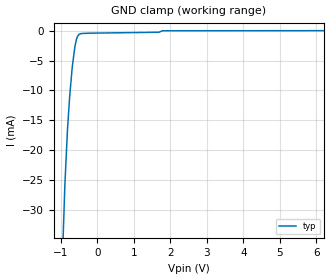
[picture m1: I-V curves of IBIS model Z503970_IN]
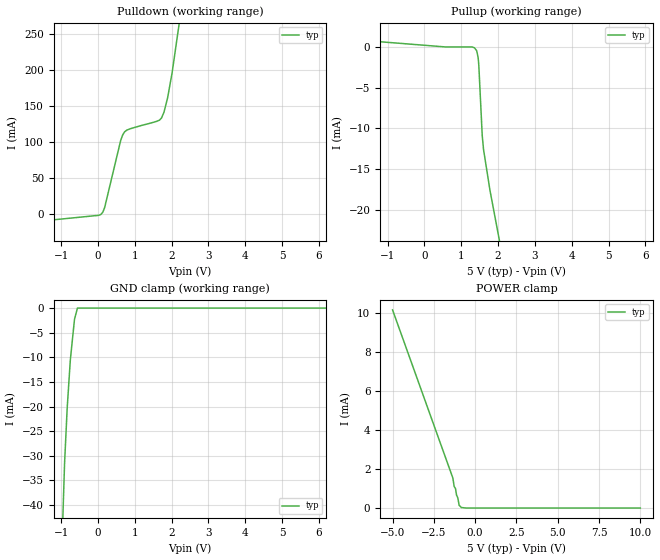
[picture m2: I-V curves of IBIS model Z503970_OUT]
| YOU ARE ONLY AUTHORIZED TO USE THIS SOFTWARE
| ACCORDING TO LICENSOR'S LICENSE RESTRICTIONS.
[IBIS Ver] 3.1
[File Name] mc74f14n.ibs
[File Rev] 2.0
[Source] Measured and created by ICX Technology
[Date] Friday 7/14/00 9:08:04 AM
[Copyright]
| (C) COPYRIGHT 1993-2000
| MENTOR GRAPHICS CORPORATION
| ICX STANDARD LIBRARY, ICX PROJECT MODELING,
| ICX CUSTOM MODELING, ICX VENDOR MODEL
| ALL RIGHTS RESERVED.
| THE FOLLOWING ARE TRADEMARKS OR SERVICE MARKS OF
| MENTOR GRAPHICS CORPORATION:ICX (R), ICX STANDARD
| LIBRARY(R), ICX PROJECT MODELING(R), ICX CUSTOM
| MODELING(R), qualityIBIS(TM), MODELVIEWER(TM),
| AND MODELEDITOR(TM)
| ALL COPIES OF SOFTWARE, INCLUDING BUT NOT LIMITED TO
| ANY MODIFICATIONS, ENHANCEMENTS OR DERIVATIVE WORKS,
| MUST CONTAIN ALL MENTOR GRAPHICS CORPORATION'S
| NOTICES AND LEGENDS, INCLUDING THOSE EMBEDDED IN
| SOFTWARE AND THOSE AFFIXED TO SOFTWARE MEDIUM
| AND CONTAINER, AS RECEIVED FROM MENTOR GRAPHICS
| CORPORATION.
|  ZAP Model Builder 2.7
[Component] MC74F14N
[Manufacturer] OnSemiconductor
[Package]
| variable   typ   min   max
R_pkg  .21ohms NA NA
L_pkg  4.543nH NA NA
C_pkg  1.059pF NA NA
[Pin] signal_name  model_name  R_pin  L_pin C_pin
1 A Z503970_IN .22 6.757n 1.432p
2 Y Z503970_OUT .212 4.757n 1.142p
3 A Z503970_IN .204 3.257n .852p
4 Y Z503970_OUT .196 2.257n .562p
5 A Z503970_IN .204 3.257n .852p
6 Y Z503970_OUT .212 4.757n 1.142p
7 GROUND GND .22 6.757n 1.432p
8 Y Z503970_OUT .22 6.757n 1.432p
9 A Z503970_IN .212 4.757n 1.142p
10 Y Z503970_OUT .204 3.257n .852p
11 A Z503970_IN .196 2.257n .562p
12 Y Z503970_OUT .204 3.257n .852p
13 A Z503970_IN .212 4.757n 1.142p
14 VCC POWER .22 6.757n 1.432p
| Models and submodels in the file (2): Z503970_IN (Input), Z503970_OUT (Output)
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| (C) COPYRIGHT 1993-2000
| MENTOR GRAPHICS CORPORATION
| ICX STANDARD LIBRARY, ICX PROJECT MODELING,
| ICX CUSTOM MODELING, ICX VENDOR MODEL
| ALL RIGHTS RESERVED.
| THE FOLLOWING ARE TRADEMARKS OR SERVICE MARKS OF
| MENTOR GRAPHICS CORPORATION:ICX (R), ICX STANDARD
| LIBRARY(R), ICX PROJECT MODELING(R), ICX CUSTOM
| MODELING(R), qualityIBIS(TM), MODELVIEWER(TM),
| AND MODELEDITOR(TM)
| ALL COPIES OF SOFTWARE, INCLUDING BUT NOT LIMITED TO
| ANY MODIFICATIONS, ENHANCEMENTS OR DERIVATIVE WORKS,
| MUST CONTAIN ALL MENTOR GRAPHICS CORPORATION'S
| NOTICES AND LEGENDS, INCLUDING THOSE EMBEDDED IN
| SOFTWARE AND THOSE AFFIXED TO SOFTWARE MEDIUM
| AND CONTAINER, AS RECEIVED FROM MENTOR GRAPHICS
| CORPORATION.
| Model Application Version 1.89 2/18/99.
[Model] Z503970_IN
Model_type Input
Vinl = 800.0mV
Vinh = 2.000V
C_comp 4.000pF NA NA
| variable typ   min   max
[Voltage Range] 5.000V NA NA
[GND Clamp Reference] 0.000V NA NA
[POWER Clamp Reference] 5.000V NA NA
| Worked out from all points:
|   GND clamp passes 1 mA (typ) near -0.55 V on its own axis
[GND Clamp]
-5V       -785.1mA   NA         NA
-888.7mV  -25.74mA   NA         NA
-819.6mV  -16.75mA   NA         NA
-756.8mV  -10.88mA   NA         NA
-688.1mV  -6.131mA   NA         NA
-618.7mV  -2.837mA   NA         NA
-575.8mV  -1.505mA   NA         NA
-541.5mV  -922.2uA   NA         NA
-444.2mV  -460.6uA   NA         NA
1.688V    -245.9uA   NA         NA
1.782V    1.508uA    NA         NA
10V       33.37uA    NA         NA
[POWER Clamp]
-5V       0A         NA         NA
10V       0A         NA         NA
| (C) COPYRIGHT 1993-2000
| MENTOR GRAPHICS CORPORATION
| ICX STANDARD LIBRARY, ICX PROJECT MODELING,
| ICX CUSTOM MODELING, ICX VENDOR MODEL
| ALL RIGHTS RESERVED.
| THE FOLLOWING ARE TRADEMARKS OR SERVICE MARKS OF
| MENTOR GRAPHICS CORPORATION:ICX (R), ICX STANDARD
| LIBRARY(R), ICX PROJECT MODELING(R), ICX CUSTOM
| MODELING(R), qualityIBIS(TM), MODELVIEWER(TM),
| AND MODELEDITOR(TM)
| ALL COPIES OF SOFTWARE, INCLUDING BUT NOT LIMITED TO
| ANY MODIFICATIONS, ENHANCEMENTS OR DERIVATIVE WORKS,
| MUST CONTAIN ALL MENTOR GRAPHICS CORPORATION'S
| NOTICES AND LEGENDS, INCLUDING THOSE EMBEDDED IN
| SOFTWARE AND THOSE AFFIXED TO SOFTWARE MEDIUM
| AND CONTAINER, AS RECEIVED FROM MENTOR GRAPHICS
| CORPORATION.
| Model Application Version 1.89 2/18/99.
[Model] Z503970_OUT
Model_type Output
Vref=0.000V
Rref=500.0ohms
Cref=50.00pF
Vmeas=1.500V
C_comp 8.000pF NA NA
| variable typ   min   max
[Voltage Range] 5.000V NA NA
[POWER Clamp Reference] 5.000V NA NA
[Pullup Reference] 5.000V NA NA
[Pulldown Reference] 0.000V NA NA
[GND Clamp Reference] 0.000V NA NA
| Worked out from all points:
|   slope of the pulldown table from 0 to 0.75 V, typ, clamps not added: 6.38 ohm
|   slope of the pullup table from 0 to 0.75 V, typ, clamps not added: 3.65 kohm
|   GND clamp passes 1 mA (typ) near -0.59 V on its own axis
|   POWER clamp passes 1 mA (typ) near -1.19 V on its own axis
[GND Clamp]
-5V       -1.751A    NA         NA
-1.122V   -91.52mA   NA         NA
-1.016V   -57.02mA   NA         NA
-908.2mV  -31.52mA   NA         NA
-837.4mV  -20.35mA   NA         NA
-752mV    -10.55mA   NA         NA
-638.5mV  -2.273mA   NA         NA
-558.7mV  0A         NA         NA
10V       0A         NA         NA
[Pulldown]
-5V       -27.84mA   NA         NA
69.73mV   -1.352mA   NA         NA
180.7mV   8.704mA    NA         NA
615.3mV   102mA      NA         NA
669mV     109.6mA    NA         NA
781mV     116.4mA    NA         NA
1.584V    128.5mA    NA         NA
1.723V    133.2mA    NA         NA
1.791V    141.3mA    NA         NA
1.89V     161.4mA    NA         NA
2.012V    196.3mA    NA         NA
10V       3.044A     NA         NA
[Pullup]
-5V       1.987mA    NA         NA
571.5mV   -17.66uA   NA         NA
1.299V    -17.66uA   NA         NA
1.362V    -127.8uA   NA         NA
1.421V    -481.2uA   NA         NA
1.46V     -1.328mA   NA         NA
1.478V    -2.229mA   NA         NA
1.571V    -10.86mA   NA         NA
1.607V    -12.61mA   NA         NA
1.782V    -17.63mA   NA         NA
10V       -214.4mA   NA         NA
[POWER Clamp]
-5V       10.15mA    NA         NA
-1.348V   1.534mA    NA         NA
-1.27V    1.102mA    NA         NA
-1.187V   993.9uA    NA         NA
-1.128V   668.2uA    NA         NA
-1.051V   525.9uA    NA         NA
-967mV    137.7uA    NA         NA
-831mV    26.43uA    NA         NA
-554mV    0A         NA         NA
10V       0A         NA         NA
[Ramp]
| variable typ min max
dV/dt_r 2.029/1.404n NA NA
dV/dt_f 2.029/699.9p NA NA
R_load = 500.0Ohms
